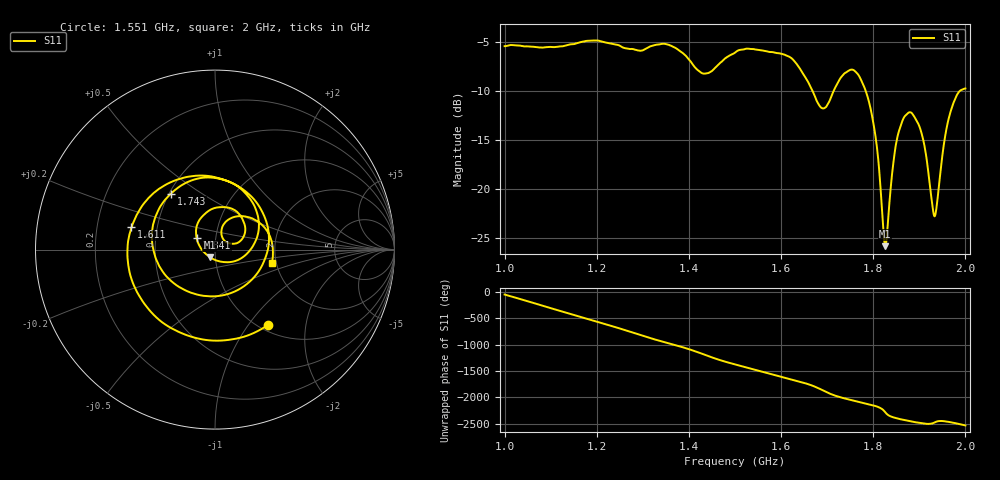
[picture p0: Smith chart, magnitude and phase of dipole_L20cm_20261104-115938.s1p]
! Dipole length 20 cm, measured 20261104-115938
# GHZ S RI R 50.000000000000
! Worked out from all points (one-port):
!   1001 points, 1 GHz to 2 GHz, reference 50 ohm
!   lowest |S11| = -25.9 dB at 1.826 GHz (marker M1), VSWR 1.11, Z = 47.2 - j4.08 ohm
!   |S11| at or under -10 dB: 1.668 GHz to 1.714 GHz (45.49 MHz wide, 2.69 % of centre); 1.784 GHz to 1.988 GHz (203.9 MHz wide, 10.8 % of centre)
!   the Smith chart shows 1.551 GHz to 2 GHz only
!   S11 on the Smith chart (normalised r, x): 1.551 GHz: 1.09, -1.24; 1.611 GHz: 0.36, +0.11; 1.743 GHz: 0.51, +0.38; 1.841 GHz: 0.81, +0.10; 2 GHz: 1.90, -0.31
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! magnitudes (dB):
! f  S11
! 1 GHz  -5.4
! 1.125 GHz  -5.4
! 1.25 GHz  -5.4
! 1.375 GHz  -5.7
! 1.434 GHz  -8.2
! 1.5 GHz  -6.1
! 1.551 GHz  -5.8
! 1.611 GHz  -6.3
! 1.625 GHz  -6.7
! 1.69 GHz  -11.8
! 1.743 GHz  -8.0
! 1.75 GHz  -7.8
! 1.773 GHz  -8.8
! 1.795 GHz  -12.0
! 1.808 GHz  -15.7
! 1.822 GHz  -24.2
! 1.826 GHz  -25.9
! 1.83 GHz  -24.6
! 1.841 GHz  -18.4
! 1.855 GHz  -14.2
! 1.875 GHz  -12.3
! 1.905 GHz  -14.3
! 1.933 GHz  -22.8
! 1.938 GHz  -21.7
! 1.953 GHz  -15.5
! 1.965 GHz  -12.6
! 1.982 GHz  -10.4
! 2 GHz  -9.7
